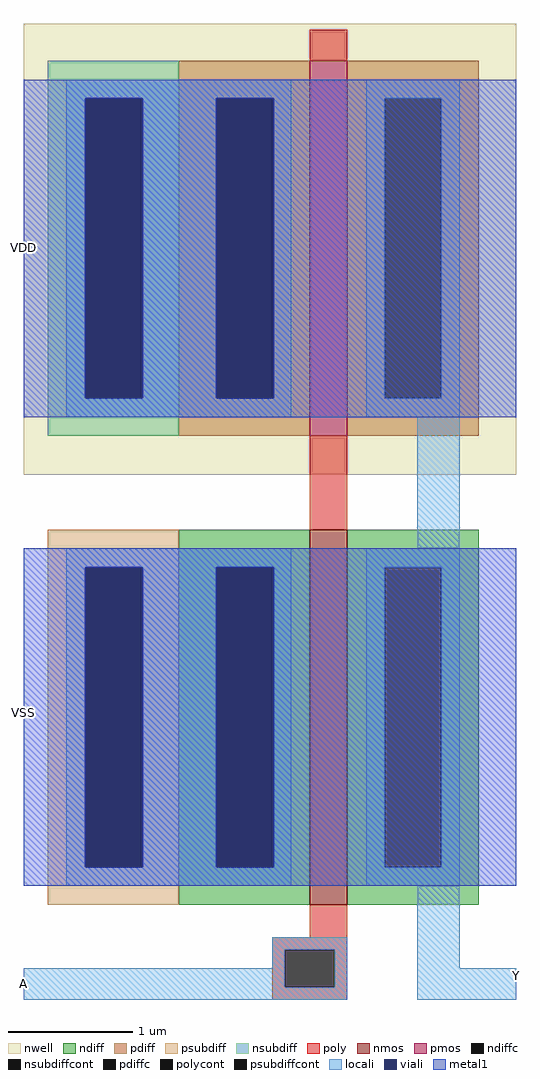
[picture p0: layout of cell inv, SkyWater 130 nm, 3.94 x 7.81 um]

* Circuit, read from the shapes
.subckt inv A VDD VSS Y
XM1 Y A VSS VSS sky130_fd_pr__nfet_01v8 w=3 l=0.3
XM2 Y A VDD VDD sky130_fd_pr__pfet_01v8 w=3 l=0.3
.ends

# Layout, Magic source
magic
tech sky130A
<< nwell >>
rect -229 344 165 705
<< nmos >>
rect 0 0 30 300
<< pmos >>
rect 0 375 30 675
<< ndiff >>
rect -105 270 0 300
rect -105 30 -75 270
rect -30 30 0 270
rect -105 0 0 30
rect 30 270 135 300
rect 30 30 60 270
rect 105 30 135 270
rect 30 0 135 30
<< pdiff >>
rect -105 645 0 675
rect -105 405 -75 645
rect -30 405 0 645
rect -105 375 0 405
rect 30 645 135 675
rect 30 405 60 645
rect 105 405 135 645
rect 30 375 135 405
<< ndiffc >>
rect -75 30 -30 270
rect 60 30 105 270
<< pdiffc >>
rect -75 405 -30 645
rect 60 405 105 645
<< psubdiff >>
rect -210 270 -105 300
rect -210 30 -180 270
rect -135 30 -105 270
rect -210 0 -105 30
<< nsubdiff >>
rect -210 645 -105 675
rect -210 405 -180 645
rect -135 405 -105 645
rect -210 375 -105 405
<< psubdiffcont >>
rect -180 30 -135 270
<< nsubdiffcont >>
rect -180 405 -135 645
<< poly >>
rect 0 675 30 700
rect 0 300 30 375
rect 0 -26 30 0
rect -30 -36 30 -26
rect -30 -66 -20 -36
rect 20 -66 30 -36
rect -30 -76 30 -66
<< polycont >>
rect -20 -66 20 -36
<< locali >>
rect -195 645 -15 660
rect -195 405 -180 645
rect -134 405 -75 645
rect -29 405 -15 645
rect -195 390 -15 405
rect 45 645 120 660
rect 45 405 60 645
rect 105 405 120 645
rect 45 390 120 405
rect 86 285 120 390
rect -195 270 -15 285
rect -195 30 -180 270
rect -134 30 -75 270
rect -29 30 -15 270
rect -195 15 -15 30
rect 45 270 120 285
rect 45 30 60 270
rect 105 30 120 270
rect 45 15 120 30
rect -30 -36 30 -26
rect -30 -51 -20 -36
rect -229 -66 -20 -51
rect 20 -66 30 -36
rect -229 -76 30 -66
rect 86 -51 120 15
rect 86 -76 165 -51
<< viali >>
rect -180 405 -135 645
rect -135 405 -134 645
rect -75 405 -30 645
rect -30 405 -29 645
rect -180 30 -135 270
rect -135 30 -134 270
rect -75 30 -30 270
rect -30 30 -29 270
<< metal1 >>
rect -229 645 165 660
rect -229 405 -180 645
rect -134 405 -75 645
rect -29 405 165 645
rect -229 390 165 405
rect -229 270 165 285
rect -229 30 -180 270
rect -134 30 -75 270
rect -29 30 165 270
rect -229 15 165 30
<< labels >>
rlabel metal1 -229 526 -229 526 7 VDD
rlabel metal1 -229 154 -229 154 7 VSS
rlabel locali -229 -63 -229 -63 7 A
rlabel locali 165 -57 165 -57 3 Y
<< end >>
